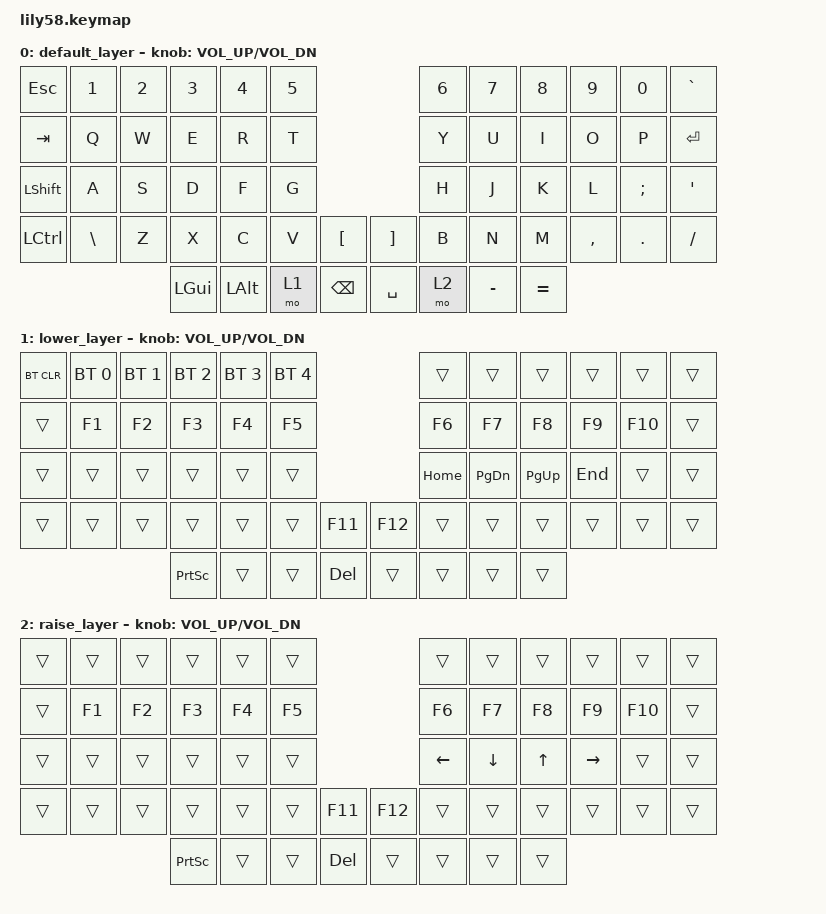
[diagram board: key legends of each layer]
/*
 * Copyright (c) 2020 The ZMK Contributors
 *
 * SPDX-License-Identifier: MIT
 */

#include <behaviors.dtsi>
#include <dt-bindings/zmk/keys.h>
#include <dt-bindings/zmk/bt.h>
#include <dt-bindings/zmk/ext_power.h>

/ {
	keymap {
		compatible = "zmk,keymap";

		default_layer {
// ------------------------------------------------------------------------------------------------------------
// |  ESC  |  1  |  2  |  3   |  4   |  5   |                   |  6   |  7    |  8    |  9   |   0   |   `   |
// |  TAB  |  Q  |  W  |  E   |  R   |  T   |                   |  Y   |  U    |  I    |  O   |   P   |RETURN |
// | SHIFT |  A  |  S  |  D   |  F   |  G   |                   |  H   |  J    |  K    |  L   |   ;   |   '   |
// |  CTRL |BSLH |  Z  |  X   |  C   |  V   |   "["  |  |  "]"  |  B   |  N    |  M    |  ,   |  .    |   /   |
//                     | GUI  | ALT  | LOWER| BSPC   |  | SPACE | RAISE| MINUS | EQUAL |
			bindings = <
&kp ESC   &kp N1 &kp N2 &kp N3   &kp N4   &kp N5                     &kp N6 &kp N7   &kp N8    &kp N9  &kp N0   &kp GRAVE
&kp TAB   &kp Q  &kp W  &kp E    &kp R    &kp T                      &kp Y  &kp U    &kp I     &kp O   &kp P    &kp RET
&kp LSHFT &kp A  &kp S  &kp D    &kp F    &kp G                      &kp H  &kp J    &kp K     &kp L   &kp SEMI &kp SQT
&kp LCTRL &kp BSLH &kp Z &kp X   &kp C    &kp V  &kp LBKT  &kp RBKT  &kp B  &kp N  	 &kp M     &kp COMMA  &kp DOT &kp FSLH
                        &kp LGUI &kp LALT &mo 1  &kp BSPC  &kp SPACE &mo 2  &kp MINUS &kp EQUAL
			>;

			sensor-bindings = <&inc_dec_kp C_VOL_UP C_VOL_DN>;
		};

		lower_layer {
// ------------------------------------------------------------------------------------------------------------
// | BTCLR | BT1 | BT2 |  BT3 |  BT4 |  BT5 |                   |      |       |       |      |       |       |
// |       |  F1 |  F2 |  F3  |  F4  |  F5  |                   |  F6  |  F7   |  F8   |  F9  |  F10  |       |
// |       |     |     |      |      |      |                   |      | HOME  | PG_DN |PG_UP |  END  |       |
// |       |     |     |      |      |      |  F11	 |  |  F12	|      |       |       |      |       |       |
//                     |PSCRN |      |      |  DEL	 |  |       |      |       |       |
			bindings = <
&bt BT_CLR &bt BT_SEL 0     &bt BT_SEL 1      &bt BT_SEL 2      &bt BT_SEL 3	&bt BT_SEL 4					&trans		&trans		&trans		&trans	&trans	&trans
&trans 	   &kp F1     		&kp F2            &kp F3            &kp F4			&kp F5							&kp F6		&kp F7		&kp F8		&kp F9	&kp F10	&trans
&trans     &trans 			&trans 			  &trans  			&trans			&trans							&kp HOME	&kp PG_DN	&kp PG_UP &kp END   &trans	&trans
&trans     &trans 			&trans 			  &trans     		&trans			&trans			&kp F11	&kp F12   &trans	&trans		&trans    &trans 	&trans	&trans
                       						  &kp PSCRN         &trans			&trans			&kp DEL	&trans    &trans	&trans		&trans
			>;

			sensor-bindings = <&inc_dec_kp C_VOL_UP C_VOL_DN>;
		};

		raise_layer {
// ------------------------------------------------------------------------------------------------------------
// |       |     |     |      |      |      |                   |      |       |       |      |       |       |
// |       |  F1 |  F2 |  F3  |  F4  |  F5  |                   |  F6  |  F7   |  F8   |  F9  |  F10  |       |
// |       |     |     |      |      |      |                   |      |   <-  |   v   |  ^   |  ->   |       |
// |       |     |     |      |      |      |  F11	 |  |  F12	|      |       |       |      |       |       |
//                     |PSCRN |      |      |  DEL	 |  |       |      |       |       |
			bindings = <
&trans	&trans 	&trans	&trans  &trans  &trans						&trans		&trans    &trans    &trans   &trans    &trans
&trans	&kp F1	&kp F2	&kp F3	&kp F4	&kp F5 						&kp F6		&kp F7    &kp F8    &kp F9    &kp F10	&trans
&trans	&trans 	&trans	&trans  &trans  &trans						&kp LEFT	&kp DOWN  &kp UP    &kp RIGHT &trans 	&trans
&trans	&trans 	&trans	&trans  &trans  &trans    &kp F11   &kp F12    &trans	&trans    &trans	&trans   &trans 	&trans
                     &kp PSCRN  &trans  &trans   &kp DEL   &trans    &trans		&trans	   &trans
			>;

			sensor-bindings = <&inc_dec_kp C_VOL_UP C_VOL_DN>;
		};
	};
};
